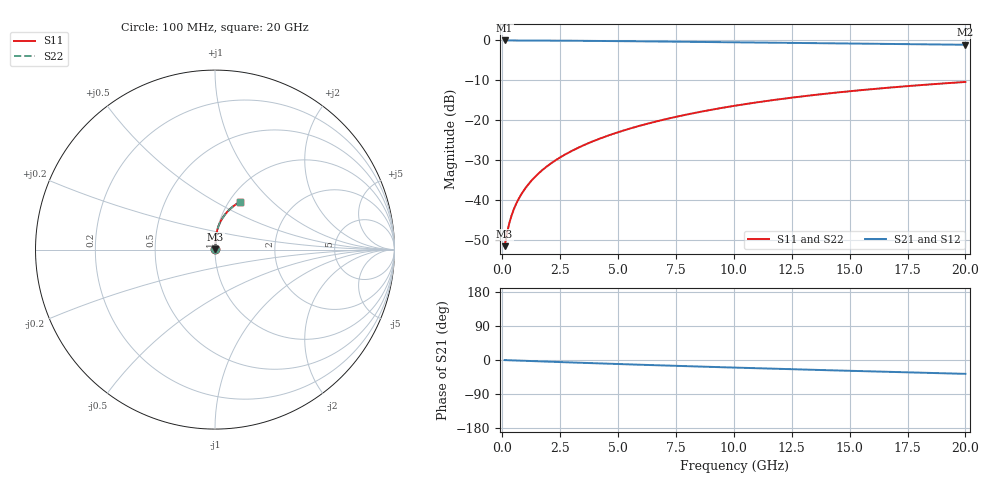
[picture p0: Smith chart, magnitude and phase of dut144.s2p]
! Touchstone file exported from HFSS 2024.1.0
!  File:  C:/UserFiles/LocalFiles/RDL_TSV_Batchsim/temp_RDL_top_144_1778684892.aedt
!  Generated:  11:10:14 PM May 13, 2026
!  Design:  RDL_top
!  Project:  temp_RDL_top_144_1778684892
!  Setup:  Setup1
!  Solution:  Sweep
! Variables:
!  dtsv = 10.80580581um
!  hbump = 3um
!  htsv = 53.62um
!  ldown = 100um
!  lrdl = 566.94um
!  p = 40
!  p1 = 42.94um
!  rhole = 1um
!  t = 450um
!  tdown = 3.915915916um
!  trdl = 4.75um
!  wdown = 15.38538539um
!  wrdl = 21.89um
# GHz S MA R 50.000000
! Terminal data exported
! Port[1] = Box2_T1
! Port[2] = Box2_T2
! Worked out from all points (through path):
!   200 points, 100 MHz to 20 GHz, reference 50 ohm
!   highest |S21| = -0.02 dB at 100 MHz (marker M1); lowest = -1.1 dB at 20 GHz (marker M2)
!   group delay of S21, straight-line fit = 5.02 ps
!   lowest |S11| = -51.7 dB at 100 MHz (marker M3), VSWR 1.01, Z = 50.2 + j0.155 ohm
!   |S11| at or under -10 dB: start of sweep to end of sweep
!   |S22| runs from -51.7 to -10.4 dB; largest |S21 - S12| = 3.8e-15
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0.1  0.002612 36.2  0.9979 -0.2  0.9979 -0.2  0.002612 36.2
! Gamma 0 0 0 0
! Port Impedance 50 0 50 0
0.2  0.003762 53.7  0.9977 -0.5  0.9977 -0.5  0.003762 53.7
0.3  0.005047 62.0  0.9975 -0.7  0.9975 -0.7  0.005047 62.0
0.4  0.006339 66.7  0.9974 -0.9  0.9974 -0.9  0.006339 66.7
0.5  0.007618 69.8  0.9972 -1.1  0.9972 -1.1  0.007618 69.8
0.6  0.008889 72.2  0.997 -1.3  0.997 -1.3  0.008889 72.2
0.8  0.01143 75.6  0.9967 -1.8  0.9967 -1.8  0.01143 75.6
1.1  0.01528 78.9  0.9962 -2.4  0.9962 -2.4  0.01528 78.9
1.3  0.01788 80.4  0.9957 -2.9  0.9957 -2.9  0.01788 80.4
1.6  0.02183 82.0  0.995 -3.5  0.995 -3.5  0.02183 82.0
2.1  0.02854 83.8  0.9934 -4.6  0.9934 -4.6  0.02854 83.8
2.7  0.03678 85.0  0.9911 -5.9  0.9911 -5.9  0.03678 85.0
3.5  0.0481 85.7  0.9874 -7.6  0.9874 -7.6  0.0481 85.7
4.2  0.05832 85.9  0.9837 -9.0  0.9837 -9.0  0.05832 85.9
5  0.07033 85.7  0.9791 -10.6  0.9791 -10.6  0.07033 85.7
6.8  0.09848 84.3  0.9677 -14.1  0.9677 -14.1  0.09848 84.3
8.4  0.1244 82.3  0.9572 -17.1  0.9572 -17.1  0.1244 82.3
10.1  0.1522 79.6  0.9459 -20.2  0.9459 -20.2  0.1522 79.6
11.7  0.1782 76.9  0.9353 -23.0  0.9353 -23.0  0.1782 76.9
13.4  0.2053 73.9  0.9242 -25.9  0.9242 -25.9  0.2053 73.9
16.7  0.2552 68.0  0.9025 -31.3  0.9025 -31.3  0.2552 68.0
20  0.3009 62.3  0.8811 -36.6  0.8811 -36.6  0.3009 62.3
